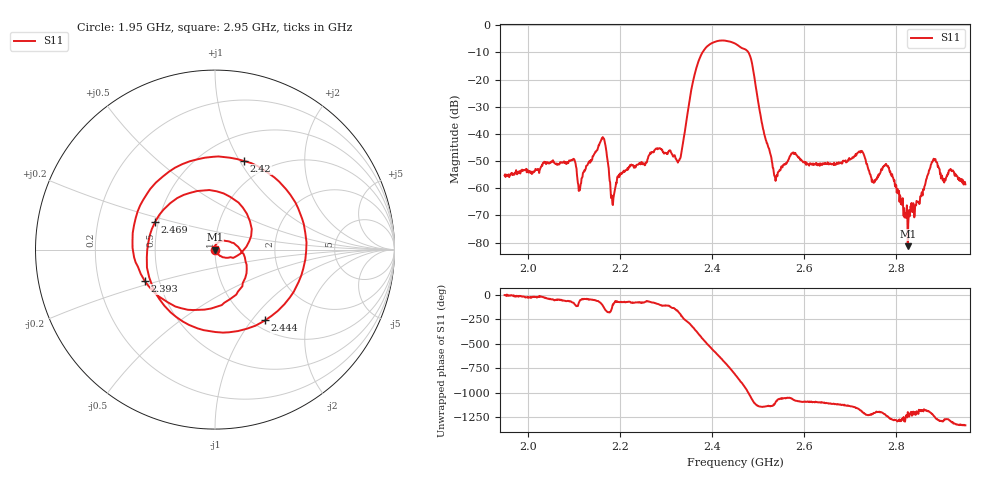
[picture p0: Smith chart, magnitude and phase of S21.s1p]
#  HZ  S  DB  R  50.0
! Rohde & Schwarz ZVL
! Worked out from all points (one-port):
!   1001 points, 1.95 GHz to 2.95 GHz, reference 50 ohm
!   lowest |S11| = -81.3 dB at 2.825 GHz (marker M1), VSWR 1.00, Z = 50 - j0.00777 ohm
!   |S11| at or under -10 dB: start of sweep to 2.38 GHz; 2.479 GHz to end of sweep
!   S11 on the Smith chart (normalised r, x): 1.95 GHz: 1.00, -0.00; 2.393 GHz: 0.41, -0.18; 2.42 GHz: 0.77, +1.04; 2.444 GHz: 1.14, -1.17; 2.469 GHz: 0.48, +0.17; 2.95 GHz: 1.00, +0.00
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1.95e9  -55.27 -1.0
2.075e9  -50.62 -52.8
2.099e9  -49.19 -78.2
2.114e9  -59.85 -51.6
2.163e9  -41.18 -108.4
2.183e9  -63.15 -133.0
2.2e9  -54.61 -72.8
2.282e9  -45.65 -91.6
2.325e9  -49.97 -160.2
2.371e9  -13.16 -37.0
2.393e9  -7.36 -156.1
2.405e9  -6.26 145.6
2.42e9  -5.69 72.0
2.433e9  -5.82 4.5
2.444e9  -6.32 -54.7
2.45e9  -6.76 -89.7
2.469e9  -8.69 155.0
2.485e9  -12.59 29.2
2.537e9  -56.04 -26.5
2.575e9  -47.14 14.6
2.7e9  -49.44 -56.3
2.725e9  -46.43 -105.8
2.752e9  -57.89 -125.5
2.78e9  -51.71 -155.7
2.825e9  -81.30 -115.5
2.881e9  -49.15 -152.5
2.902e9  -57.05 156.4
2.95e9  -58.57 108.9
